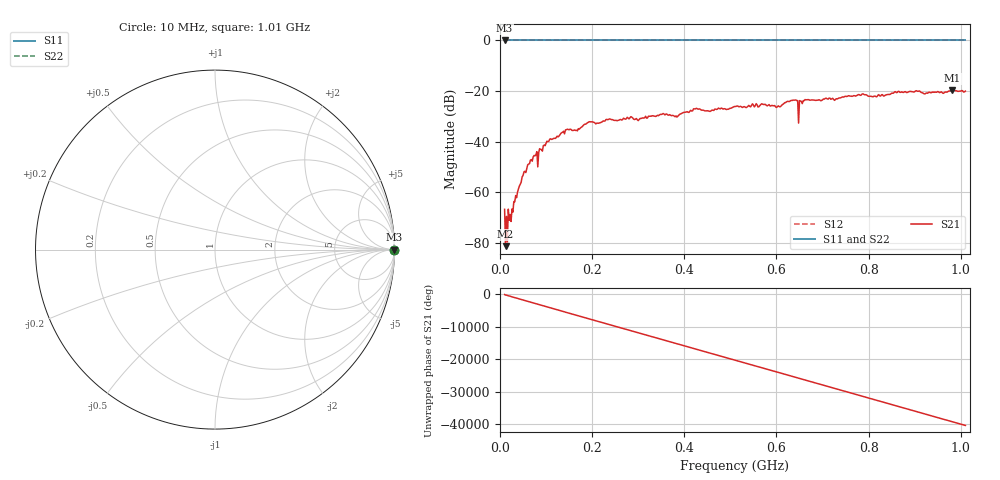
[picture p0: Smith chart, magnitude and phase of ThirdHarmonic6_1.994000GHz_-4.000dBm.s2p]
! 8/16/2025 11:57:39 PM
! C:\ANRITSUVNA\TEMP\TEMP.S2P
! CHANNEL.1
! TR.MEASUREMENT
! RAW.DATA
! RF.CORRECTION.OFF
! AVERAGING.OFF
! IF.BANDWIDTH: 5KHZ
! SWEEPTYPE:  FREQ.SWEEP(Linear)
! Reference Plane Port Info
! PORT:  PORT1  PORT2
! DISTANCE:  0  m  0  m
! TIME:  0  s  0  s
! PHASE.OFFSET:  0  deg.  0  deg.
! LOSS:  0  dB  0  dB
! REF.LOSS:  0  dB  0  dB
! REF.FREQ:  0  Hz  0  Hz
! Power Info
! POWER:  -20  dBm  -20  dBm
! EFF.POWER:  -20  dBm  -20  dBm
! SOURCE.ATTEN:  0  dB  0  dB
! TEST.ATTEN:  0  dB  0  dB
# GHZ S RI R 50.0
! FREQ.GHZ  S11RE  S11IM  S21RE  S21IM  S12RE  S12IM  S22RE  S22IM
!; PortSelection: Port_12
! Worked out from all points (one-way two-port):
!   501 points, 10 MHz to 1.01 GHz, reference 50 ohm
!   highest |S21| = -19.69 dB at 982 MHz (marker M1); lowest = -81.3 dB at 12 MHz (marker M2)
!   lowest |S11| = 0.0 dB at 10 MHz (marker M3)
!   |S11| at or under -10 dB: nowhere
!   |S22| runs from 0.0 to 0.0 dB; largest |S21 - S12| = 1.1
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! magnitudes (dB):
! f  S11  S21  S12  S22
! 10 MHz  0.0  -66.7  0.0  0.0
! 12 MHz  0.0  -81.3  0.0  0.0
! 16 MHz  0.0  -79.6  0.0  0.0
! 20 MHz  0.0  -71.0  0.0  0.0
! 22 MHz  0.0  -68.7  0.0  0.0
! 24 MHz  0.0  -71.5  0.0  0.0
! 50 MHz  0.0  -53.3  0.0  0.0
! 76 MHz  0.0  -45.6  0.0  0.0
! 80 MHz  0.0  -43.9  0.0  0.0
! 106 MHz  0.0  -39.8  0.0  0.0
! 178 MHz  0.0  -34.1  0.0  0.0
! 196 MHz  0.0  -32.1  0.0  0.0
! 344 MHz  0.0  -29.7  0.0  0.0
! 510 MHz  0.0  -26.1  0.0  0.0
! 604 MHz  0.0  -25.8  0.0  0.0
! 638 MHz  0.0  -23.6  0.0  0.0
! 652 MHz  0.0  -23.9  0.0  0.0
! 654 MHz  0.0  -24.1  0.0  0.0
! 678 MHz  0.0  -23.5  0.0  0.0
! 844 MHz  0.0  -21.3  0.0  0.0
! 982 MHz  0.0  -19.7  0.0  0.0
! 1.01 GHz  0.0  -20.0  0.0  0.0
